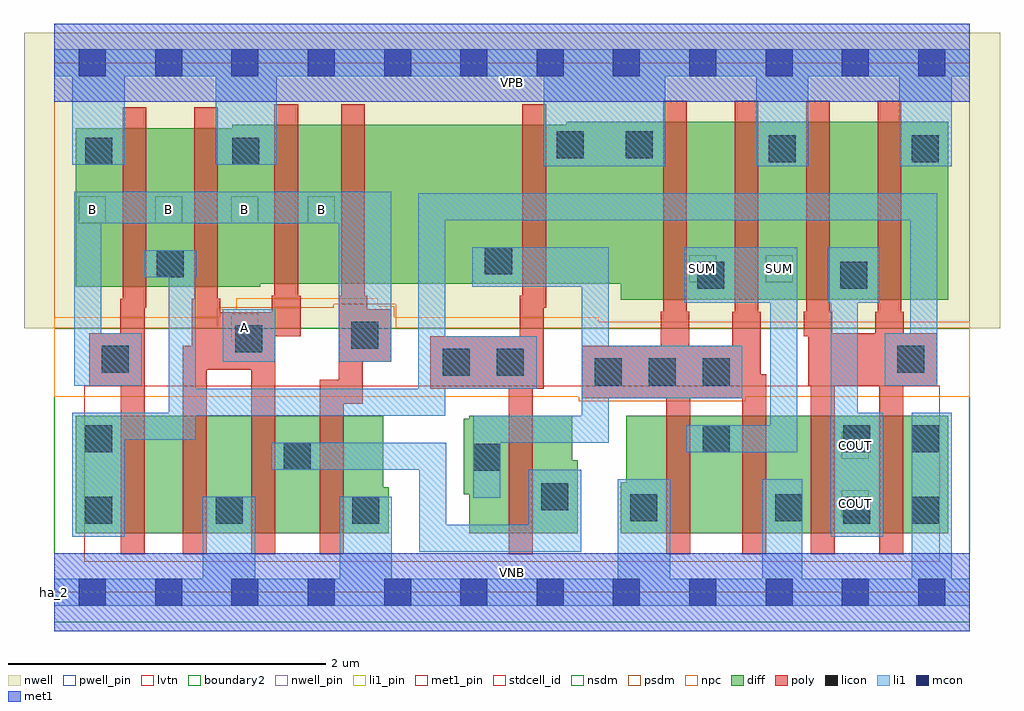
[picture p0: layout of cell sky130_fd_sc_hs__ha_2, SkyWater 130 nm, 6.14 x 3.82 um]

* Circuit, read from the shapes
.subckt sky130_fd_sc_hs__ha_2 A B COUT SUM VGND VNB VPB VPWR
XM1 n1 B n2 VNB sky130_fd_pr__nfet_01v8_lvt w=0.74 l=0.15
XM2 VGND A n1 VNB sky130_fd_pr__nfet_01v8_lvt w=0.74 l=0.15
XM3 n3 A VGND VNB sky130_fd_pr__nfet_01v8_lvt w=0.74 l=0.15
XM4 VGND B n3 VNB sky130_fd_pr__nfet_01v8_lvt w=0.74 l=0.15
XM5 n3 n2 n4 VNB sky130_fd_pr__nfet_01v8_lvt w=0.74 l=0.15
XM6 SUM n4 VGND VNB sky130_fd_pr__nfet_01v8_lvt w=0.74 l=0.15 m=2
XM7 COUT n2 VGND VNB sky130_fd_pr__nfet_01v8_lvt w=0.74 l=0.15 m=2
XM8 n2 B VPWR VPB sky130_fd_pr__pfet_01v8 w=1 l=0.15
XM9 VPWR A n2 VPB sky130_fd_pr__pfet_01v8 w=1 l=0.15
XM10 n5 A VPWR VPB sky130_fd_pr__pfet_01v8 w=1 l=0.15
XM11 n4 B n5 VPB sky130_fd_pr__pfet_01v8 w=1 l=0.15
XM12 VPWR n2 n4 VPB sky130_fd_pr__pfet_01v8 w=1 l=0.15
XM13 SUM n4 VPWR VPB sky130_fd_pr__pfet_01v8 w=1.12 l=0.15 m=2
XM14 COUT n2 VPWR VPB sky130_fd_pr__pfet_01v8 w=1.12 l=0.15 m=2
.ends

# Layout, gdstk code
import gdstk
lib = gdstk.Library(unit=1e-6, precision=1e-09)
def R(c, l, rs):  # rectangles x0, y0, x1, y1
    for r in rs: c.add(gdstk.rectangle(r[:2], r[2:], *l))
def A(c, l, x, y, w, h, nx, ny, dx, dy):  # array of equal rectangles
    R(c, l, [(x+i*dx, y+j*dy, x+i*dx+w, y+j*dy+h) for i in range(nx) for j in range(ny)])
def P(c, l, *ps):  # polygons
    for p in ps: c.add(gdstk.Polygon(p, *l))
nwell_pin = (64, 16)
nwell = (64, 20)
diff = (65, 20)
poly = (66, 20)
licon = (66, 44)
li1_pin = (67, 16)
li1 = (67, 20)
mcon = (67, 44)
met1_pin = (68, 16)
met1 = (68, 20)
stdcell_id = (81, 4)
nsdm = (93, 44)
psdm = (94, 20)
npc = (95, 20)
pwell_pin = (122, 16)
lvtn = (125, 44)
boundary2 = (236, 0)

sky130_fd_sc_hs__ha_2 = lib.new_cell('sky130_fd_sc_hs__ha_2')
R(sky130_fd_sc_hs__ha_2, nwell_pin, [(0,3.085,5.76,3.33)])
R(sky130_fd_sc_hs__ha_2, nwell, [(-0.19,1.66,5.95,3.52)])
P(sky130_fd_sc_hs__ha_2, diff, [(2.105,0.66),(2.07,0.66),(2.07,1.11),(0.135,1.11),(0.135,0.37),(2.105,0.37)],
  [(3.295,0.83),(3.26,0.83),(3.26,1.11),(2.61,1.11),(2.61,1.09),(2.575,1.09),(2.575,0.615),(2.61,0.615),(2.61,0.37),(3.295,0.37)],
  [(5.625,2.96),(3.22,2.96),(3.22,2.94),(1.12,2.94),(1.12,2.92),(0.135,2.92),(0.135,1.92),(1.295,1.92),(1.295,1.94),(3.565,1.94),(3.565,1.84),(5.625,1.84)],
  [(5.625,1.11),(3.6,1.11),(3.6,0.69),(3.565,0.69),(3.565,0.37),(5.625,0.37)])
P(sky130_fd_sc_hs__ha_2, poly, [(5.555,1.63),(5.345,1.63),(5.345,1.765),(5.33,1.765),(5.33,3.09),(5.18,3.09),(5.18,1.765),(5.165,1.765),(5.165,1.63),(4.895,1.63),(4.895,1.765),(4.88,1.765),(4.88,3.09),(4.73,3.09),(4.73,1.765),(4.715,1.765),(4.715,1.61),(4.745,1.61),(4.745,1.3),(4.76,1.3),(4.76,0.24),(4.91,0.24),(4.91,1.3),(5.19,1.3),(5.19,0.24),(5.34,0.24),(5.34,1.3),(5.555,1.3)],
  [(4.48,1.37),(4.445,1.37),(4.445,1.765),(4.43,1.765),(4.43,3.09),(4.28,3.09),(4.28,1.765),(4.265,1.765),(4.265,1.55),(3.995,1.55),(3.995,1.765),(3.98,1.765),(3.98,3.09),(3.83,3.09),(3.83,1.765),(3.815,1.765),(3.815,1.55),(3.32,1.55),(3.32,1.22),(3.85,1.22),(3.85,0.24),(4,0.24),(4,1.22),(4.33,1.22),(4.33,0.24),(4.48,0.24)],
  [(3.095,3.07),(2.945,3.07),(2.945,1.865),(2.93,1.865),(2.93,1.61),(2.365,1.61),(2.365,1.28),(2.86,1.28),(2.86,0.24),(3.01,0.24),(3.01,1.28),(3.08,1.28),(3.08,1.79),(3.095,1.79)],
  [(2.12,1.78),(1.97,1.78),(1.97,1.865),(1.955,1.865),(1.955,3.07),(1.805,3.07),(1.805,1.865),(1.79,1.865),(1.79,1.335),(1.67,1.335),(1.67,0.24),(1.82,0.24),(1.82,1.185),(1.94,1.185),(1.94,1.45),(2.12,1.45)],
  [(1.55,1.865),(1.535,1.865),(1.535,3.07),(1.385,3.07),(1.385,1.865),(1.37,1.865),(1.37,1.76),(1.045,1.76),(1.045,1.845),(1.03,1.845),(1.03,3.05),(0.88,3.05),(0.88,1.845),(0.865,1.845),(0.865,1.55),(0.81,1.55),(0.81,0.24),(0.96,0.24),(0.96,1.4),(1.24,1.4),(1.24,0.24),(1.39,0.24),(1.39,1.61),(1.55,1.61)],
  [(0.58,3.05),(0.43,3.05),(0.43,1.845),(0.415,1.845),(0.415,1.63),(0.22,1.63),(0.22,1.3),(0.42,1.3),(0.42,0.24),(0.57,0.24),(0.57,1.79),(0.58,1.79)])
A(sky130_fd_sc_hs__ha_2, licon, 3.4, 1.3, 0.17, 0.17, 3, 1, 0.34, 0)
R(sky130_fd_sc_hs__ha_2, licon, [(0.195,0.43,0.365,0.6), (1.015,0.43,1.185,0.6), (1.875,0.43,2.045,0.6), (4.965,0.43,5.135,0.6), (5.395,0.43,5.565,0.6), (3.625,0.445,3.795,0.615), (4.535,0.445,4.705,0.615), (3.065,0.515,3.235,0.685), (2.635,0.765,2.805,0.935), (1.445,0.77,1.615,0.94), (0.195,0.88,0.365,1.05), (4.08,0.88,4.25,1.05), (4.965,0.88,5.135,1.05), (5.395,0.88,5.565,1.05), (2.445,1.36,2.615,1.53), (2.785,1.36,2.955,1.53), (0.3,1.38,0.47,1.55), (5.305,1.38,5.475,1.55), (1.14,1.51,1.31,1.68), (1.87,1.53,2.04,1.7), (4.045,1.91,4.215,2.08), (4.945,1.91,5.115,2.08), (0.645,1.98,0.815,2.15), (2.71,2,2.88,2.17), (0.195,2.69,0.365,2.86), (1.12,2.69,1.29,2.86), (4.495,2.705,4.665,2.875), (5.395,2.705,5.565,2.875), (3.16,2.73,3.33,2.9), (3.595,2.73,3.765,2.9)])
A(sky130_fd_sc_hs__ha_2, li1_pin, 0.155, 2.32, 0.17, 0.17, 4, 1, 0.48, 0)
R(sky130_fd_sc_hs__ha_2, li1_pin, [(4.955,0.47,5.125,0.64), (4.955,0.84,5.125,1.01), (1.115,1.58,1.285,1.75), (3.995,1.95,4.165,2.12), (4.475,1.95,4.645,2.12)])
R(sky130_fd_sc_hs__ha_2, li1, [(1.06,1.45,1.39,1.78)])
P(sky130_fd_sc_hs__ha_2, li1, [(5.315,2.68),(5.315,3.245),(4.745,3.245),(4.745,2.68),(4.415,2.68),(4.415,3.245),(3.845,3.245),(3.845,2.68),(3.08,2.68),(3.08,3.245),(1.4,3.245),(1.4,2.69),(1.015,2.69),(1.015,3.245),(0.445,3.245),(0.445,2.69),(0.115,2.69),(0.115,3.245),(0,3.245),(0,3.415),(5.76,3.415),(5.76,3.245),(5.645,3.245),(5.645,2.68)],
  [(1.795,0.085),(1.795,0.6),(2.125,0.6),(2.125,0.085),(3.545,0.085),(3.545,0.71),(3.875,0.71),(3.875,0.085),(4.455,0.085),(4.455,0.71),(4.705,0.71),(4.705,0.085),(5.395,0.085),(5.395,1.13),(5.645,1.13),(5.645,0.085),(5.76,0.085),(5.76,-0.085),(0,-0.085),(0,0.085),(0.935,0.085),(0.935,0.6),(1.265,0.6),(1.265,0.085)],
  [(0.125,2.52),(2.12,2.52),(2.12,1.45),(1.79,1.45),(1.79,2.32),(0.295,2.32),(0.295,1.63),(0.55,1.63),(0.55,1.3),(0.125,1.3)],
  [(5.555,2.51),(5.555,1.3),(5.225,1.3),(5.225,1.63),(5.385,1.63),(5.385,2.34),(2.46,2.34),(2.46,1.61),(3.035,1.61),(3.035,1.28),(2.46,1.28),(2.46,1.11),(0.89,1.11),(0.89,0.96),(0.445,0.96),(0.445,0.35),(0.115,0.35),(0.115,1.13),(0.72,1.13),(0.72,1.98),(0.565,1.98),(0.565,2.15),(0.895,2.15),(0.895,1.98),(0.89,1.98),(0.89,1.28),(2.29,1.28),(2.29,2.51)],
  [(4.865,1.82),(4.865,2.17),(5.195,2.17),(5.195,1.82),(5.055,1.82),(5.055,1.13),(5.215,1.13),(5.215,0.35),(4.885,0.35),(4.885,1.82)],
  [(2.295,0.255),(2.295,0.77),(1.365,0.77),(1.365,0.94),(2.465,0.94),(2.465,0.425),(2.985,0.425),(2.985,0.77),(3.315,0.77),(3.315,0.255)],
  [(3.49,1.55),(4.33,1.55),(4.33,1.22),(3.49,1.22),(3.49,0.94),(2.805,0.94),(2.805,0.595),(2.635,0.595),(2.635,1.11),(3.32,1.11),(3.32,1.92),(2.63,1.92),(2.63,2.17),(3.49,2.17)],
  [(3.965,1.82),(3.965,2.17),(4.675,2.17),(4.675,0.88),(3.975,0.88),(3.975,1.05),(4.505,1.05),(4.505,1.82)])
A(sky130_fd_sc_hs__ha_2, mcon, 0.155, -0.085, 0.17, 0.17, 12, 2, 0.48, 3.33)
R(sky130_fd_sc_hs__ha_2, met1_pin, [(0,0,5.76,0.245), (0,3.085,5.76,3.33)])
R(sky130_fd_sc_hs__ha_2, met1, [(0,-0.245,5.76,0.245), (0,3.085,5.76,3.575)])
R(sky130_fd_sc_hs__ha_2, stdcell_id, [(0,0,5.76,3.33)])
R(sky130_fd_sc_hs__ha_2, nsdm, [(0,-0.19,5.76,1.66)])
P(sky130_fd_sc_hs__ha_2, psdm, [(5.76,3.52),(0,3.52),(0,1.66),(1.03,1.66),(1.03,1.79),(1.76,1.79),(1.76,1.81),(2.15,1.81),(2.15,1.66),(5.76,1.66)])
P(sky130_fd_sc_hs__ha_2, npc, [(5.76,1.7),(3.425,1.7),(3.425,1.73),(2.14,1.73),(2.14,1.8),(2.035,1.8),(2.035,1.85),(1.145,1.85),(1.145,1.78),(1.04,1.78),(1.04,1.73),(0,1.73),(0,1.23),(3.3,1.23),(3.3,1.2),(4.35,1.2),(4.35,1.23),(5.76,1.23)])
R(sky130_fd_sc_hs__ha_2, pwell_pin, [(0,0,5.76,0.245)])
R(sky130_fd_sc_hs__ha_2, lvtn, [(0.19,0.19,5.57,1.3)])
R(sky130_fd_sc_hs__ha_2, boundary2, [(0,0,5.76,3.33)])
sky130_fd_sc_hs__ha_2.add(gdstk.Label('ha_2', (0,0), layer=83, texttype=44))
sky130_fd_sc_hs__ha_2.add(gdstk.Label('VNB', (2.88,0.123), layer=64, texttype=59))
sky130_fd_sc_hs__ha_2.add(gdstk.Label('VPB', (2.88,3.208), layer=64, texttype=5))
sky130_fd_sc_hs__ha_2.add(gdstk.Label('VGND', (2.88,0.123), layer=68, texttype=5))
sky130_fd_sc_hs__ha_2.add(gdstk.Label('VPWR', (2.88,3.208), layer=68, texttype=5))
sky130_fd_sc_hs__ha_2.add(gdstk.Label('B', (0.24,2.405), layer=67, texttype=5))
sky130_fd_sc_hs__ha_2.add(gdstk.Label('B', (0.72,2.405), layer=67, texttype=5))
sky130_fd_sc_hs__ha_2.add(gdstk.Label('B', (1.2,2.405), layer=67, texttype=5))
sky130_fd_sc_hs__ha_2.add(gdstk.Label('B', (1.68,2.405), layer=67, texttype=5))
sky130_fd_sc_hs__ha_2.add(gdstk.Label('A', (1.2,1.665), layer=67, texttype=5))
sky130_fd_sc_hs__ha_2.add(gdstk.Label('SUM', (4.08,2.035), layer=67, texttype=5))
sky130_fd_sc_hs__ha_2.add(gdstk.Label('SUM', (4.56,2.035), layer=67, texttype=5))
sky130_fd_sc_hs__ha_2.add(gdstk.Label('COUT', (5.04,0.555), layer=67, texttype=5))
sky130_fd_sc_hs__ha_2.add(gdstk.Label('COUT', (5.04,0.925), layer=67, texttype=5))

lib.write_gds('sky130_fd_sc_hs__ha_2.gds')
